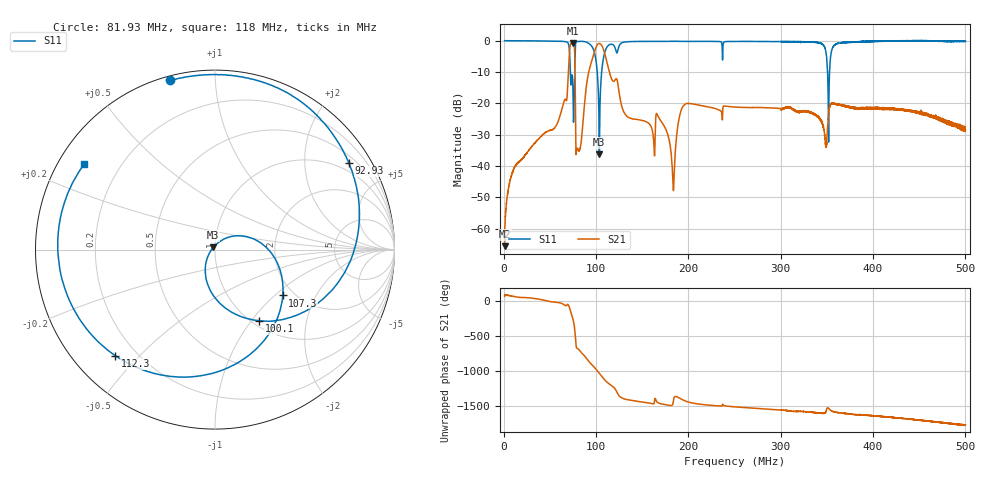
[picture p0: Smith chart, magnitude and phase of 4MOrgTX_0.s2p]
! NanoVNA-App
! Date: 2026-08-18 20:31:09
! Start: 1MHz Stop: 500MHz Points: 6401
! S-Parameter data: F S11 S21 S12 S22
# Hz S RI R 50
!  Frequency  S11_Real  S11_Imag  S21_Real  S21_Imag  S12_Real  S12_Imag  S22_Real  S22_Imag
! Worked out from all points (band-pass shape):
!   6401 points, 1 MHz to 500 MHz, reference 50 ohm
!   highest |S21| = -0.87 dB at 75.3 MHz (marker M1); lowest = -65.5 dB at 1 MHz (marker M2)
!   |S21| within 3 dB of the highest: 71.25 MHz to 76.91 MHz (5.659 MHz wide, 7.64 % of centre); 97.94 MHz to 109.2 MHz (11.3 MHz wide, 10.9 % of centre)
!   lowest |S11| = -36.2 dB at 103.6 MHz (marker M3), VSWR 1.03, Z = 49 + j1.17 ohm
!   |S11| at or under -10 dB: 72.16 MHz to 76.83 MHz (4.673 MHz wide, 6.27 % of centre); 101.3 MHz to 106.1 MHz (4.793 MHz wide, 4.62 % of centre); 350.8 MHz to 352.9 MHz (2.12 MHz wide, 0.603 % of centre)
!   S12 and S22 are empty: the file has one direction only
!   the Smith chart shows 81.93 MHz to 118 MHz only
!   S11 on the Smith chart (normalised r, x): 81.93 MHz: 0.02, +0.77; 92.93 MHz: 0.72, +3.25; 100.1 MHz: 1.08, -1.09; 107.3 MHz: 1.75, -1.13; 112.3 MHz: 0.12, -0.43; 118 MHz: 0.08, +0.30
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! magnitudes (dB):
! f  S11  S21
! 1 MHz  0.0  -65.5
! 11.37 MHz  0.0  -40.6
! 67.74 MHz  -0.4  -19.1
! 75.3 MHz  -20.3  -0.9
! 79.9 MHz  -0.3  -34.4
! 81.93 MHz  -0.2  -35.1
! 84.19 MHz  -0.2  -31.5
! 92.93 MHz  -1.0  -9.0
! 100.1 MHz  -6.6  -2.1
! 103.6 MHz  -36.2  -0.9
! 107.3 MHz  -6.8  -2.2
! 112.3 MHz  -1.8  -7.5
! 118 MHz  -1.2  -12.8
! 167.4 MHz  -0.2  -24.2
! 183.4 MHz  -0.2  -46.5
! 195.6 MHz  -0.2  -20.4
! 250.5 MHz  -0.3  -21.2
! 333.7 MHz  -0.4  -22.9
! 351.9 MHz  -32.3  -23.4
! 359.9 MHz  -1.1  -20.1
! 416.9 MHz  -0.1  -21.8
! 500 MHz  -0.2  -28.6
